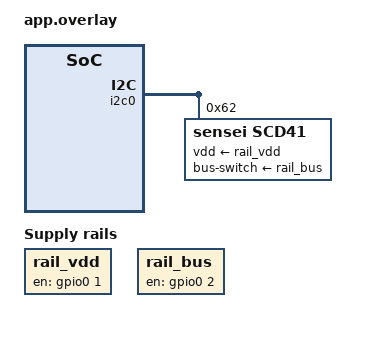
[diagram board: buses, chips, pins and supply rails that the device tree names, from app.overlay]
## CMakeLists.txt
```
# SPDX-FileCopyrightText: 2026 ETH Zurich and University of Bologna
# SPDX-License-Identifier: Apache-2.0
#
# Authors:
# - Philip Wiese <wiesep@iis.ee.ethz.ch>

cmake_minimum_required(VERSION 3.20.0)

find_package(Zephyr REQUIRED HINTS $ENV{ZEPHYR_BASE})
project(sensei_scd41_test)

target_sources(app PRIVATE src/main.c src/emul_scd41.c)
target_include_directories(app PRIVATE src ${CMAKE_CURRENT_LIST_DIR}/../common)
```

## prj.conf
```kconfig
# SPDX-FileCopyrightText: 2026 ETH Zurich and University of Bologna
# SPDX-License-Identifier: Apache-2.0

CONFIG_ZTEST=y
CONFIG_I2C=y
CONFIG_I2C_EMUL=y
CONFIG_EMUL=y
CONFIG_GPIO=y
CONFIG_GPIO_EMUL=y
CONFIG_REGULATOR=y
CONFIG_SENSOR=y
CONFIG_PM_DEVICE=y
CONFIG_PM_DEVICE_RUNTIME=y
CONFIG_SCD41_SENSEI=y
```

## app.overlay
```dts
/*
 * SPDX-FileCopyrightText: 2026 ETH Zurich and University of Bologna
 * SPDX-License-Identifier: Apache-2.0
 *
 * Authors:
 * - Philip Wiese <wiesep@iis.ee.ethz.ch>
 */

/* The SCD41 as on the sensor shield: a supply rail and an I2C isolation switch, both on GPIOs (emulated). The
 * emulator of the sensor answers only while both are on. */

#include <zephyr/dt-bindings/gpio/gpio.h>

/ {
	rail_vdd: rail-vdd {
		compatible = "regulator-fixed";
		regulator-name = "scd41-vdd";
		enable-gpios = <&gpio0 1 GPIO_ACTIVE_HIGH>;
		startup-delay-us = <1000000>; /* power-up time of the SCD4x, datasheet 3.1 */
		off-on-delay-us = <20000>;
	};

	rail_bus: rail-bus {
		compatible = "regulator-fixed";
		regulator-name = "scd41-bus";
		enable-gpios = <&gpio0 2 GPIO_ACTIVE_HIGH>;
		off-on-delay-us = <20000>;
	};
};

&i2c0 {
	scd41: scd41@62 {
		compatible = "sensei,scd41";
		reg = <0x62>;
		vdd-supply = <&rail_vdd>;
		bus-switch-supply = <&rail_bus>;
	};
};
```

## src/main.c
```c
/*
 * SPDX-FileCopyrightText: 2026 ETH Zurich and University of Bologna
 * SPDX-License-Identifier: Apache-2.0
 *
 * Authors:
 * - Philip Wiese <wiesep@iis.ee.ethz.ch>
 */

/* SCD41 driver (NRF/drivers/sensor/scd41) against the I2C emulator in emul_scd41.c: sensor API, split API, power
 * (rails and the sleep command), settings after a cold start, probe and re-probe.
 *
 * The driver keeps some state for good (chip found, settings given), so the tests run in name order and the
 * first ones need a driver that has not found the chip yet. */

#include <zephyr/device.h>
#include <zephyr/drivers/gpio.h>
#include <zephyr/drivers/gpio/gpio_emul.h>
#include <zephyr/drivers/i2c.h>
#include <zephyr/drivers/regulator.h>
#include <zephyr/drivers/sensor.h>
#include <zephyr/kernel.h>
#include <zephyr/pm/device_runtime.h>
#include <zephyr/ztest.h>

#include <sensei/drivers/scd41.h>

#include "emul_scd41.h"

static const struct device *const dev = DEVICE_DT_GET(DT_NODELABEL(scd41));
static const struct device *const gpio = DEVICE_DT_GET(DT_NODELABEL(gpio0));
static struct scd41_emul *em;

static bool rail_on(void) { return gpio_emul_output_get(gpio, 1) == 1 && gpio_emul_output_get(gpio, 2) == 1; }
static bool rail_off(void) { return gpio_emul_output_get(gpio, 1) == 0 && gpio_emul_output_get(gpio, 2) == 0; }

static void *setup(void) {
  em = scd41_emul_get();
  zassert_true(device_is_ready(dev));
  return NULL;
}

static void before(void *f) {
  ARG_UNUSED(f);
  scd41_emul_reset();
}

/* Every test ends with the sensor off. */
static void after(void *f) {
  ARG_UNUSED(f);
  zassert_true(rail_off(), "rails are off at the end of a test");
  zassert_equal(em->early, 0, "no command was sent while the sensor was busy");
}

static int32_t ref_temp_mdeg(uint16_t raw) { return (int32_t)(-45000 + (int64_t)175000 * raw / 65536); }
static int32_t ref_rh_mpct(uint16_t raw) { return (int32_t)((int64_t)100000 * raw / 65536); }

static int32_t milli(const struct sensor_value *v) { return v->val1 * 1000 + v->val2 / 1000; }

/* The emulator itself: it refuses what the datasheet says the sensor refuses. (Own rail control, not the driver.) */
ZTEST(sensei_scd41, test_00_emulator_self_check) {
  const struct device *i2c = DEVICE_DT_GET(DT_NODELABEL(i2c0));
  const struct device *vdd = DEVICE_DT_GET(DT_NODELABEL(rail_vdd));
  const struct device *bus = DEVICE_DT_GET(DT_NODELABEL(rail_bus));
  const uint8_t stop[2] = {0x3F, 0x86}, serial[2] = {0x36, 0x82};
  uint8_t pdown[2] = {0x36, 0xE0}, buf[9];
  uint8_t bad_crc[5] = {0x24, 0x16, 0x00, 0x01, 0x00}; /* ASC enable with a wrong CRC (correct: 0xB0) */

  zassert_not_equal(i2c_write(i2c, stop, 2, 0x62), 0, "rails off: no answer");
  zassert_equal(regulator_enable(vdd), 0);
  zassert_equal(regulator_enable(bus), 0);
  zassert_not_equal(i2c_write(i2c, stop, 2, 0x62), 0, "the 1000 ms power-up are not waited");
  zassert_equal(em->early, 1);
  em->early = 0;
  k_msleep(1000);
  zassert_equal(i2c_write(i2c, bad_crc, sizeof(bad_crc), 0x62), -EIO, "wrong CRC");
  zassert_equal(i2c_write(i2c, stop, 2, 0x62), 0);
  zassert_not_equal(i2c_write(i2c, serial, 2, 0x62), 0, "500 ms of stop_periodic_measurement not waited");
  zassert_equal(em->early, 1);
  em->early = 0;
  k_msleep(501);
  zassert_equal(i2c_write(i2c, serial, 2, 0x62), 0);
  zassert_not_equal(i2c_read(i2c, buf, 9, 0x62), 0, "1 ms of get_serial_number not waited");
  k_msleep(2);
  zassert_equal(i2c_read(i2c, buf, 9, 0x62), 0);
  zassert_equal(buf[2], sensirion_emul_crc8(buf, 2));
  zassert_not_equal(i2c_read(i2c, buf, 9, 0x62), 0, "nothing more to read");
  zassert_equal(i2c_write(i2c, pdown, 2, 0x62), 0);
  k_msleep(2);
  zassert_not_equal(i2c_write(i2c, serial, 2, 0x62), 0, "asleep");
  em->early = 0;
  zassert_equal(regulator_disable(bus), 0);
  zassert_equal(regulator_disable(vdd), 0);
}

/* The driver does not touch the bus before it is used (the board rails may not be up at boot). */
ZTEST(sensei_scd41, test_01_no_bus_traffic_at_boot) {
  zassert_equal(em->transfers, 0);
  zassert_true(rail_off());
}

/* No chip: probe fails, the rails go off again, and the next try asks the chip again. */
ZTEST(sensei_scd41, test_02_probe_without_chip) {
  em->present = false;
  zassert_equal(sensei_scd41_probe(dev), -ENODEV);
  zassert_true(rail_off());
  zassert_true(em->transfers > 0);

  int before_n = em->transfers;

  zassert_equal(pm_device_runtime_get(dev), -ENODEV);
  zassert_true(rail_off());
  zassert_true(em->transfers > before_n, "asked again");
  zassert_equal(sensei_scd41_probe(dev), -ENODEV);
}

/* An SCD40 is not accepted (the driver needs the single shot of the SCD41). */
ZTEST(sensei_scd41, test_03_probe_wrong_variant) {
  em->variant = 0x0000;
  zassert_equal(sensei_scd41_probe(dev), -ENODEV);
  zassert_true(rail_off());
}

/* The chip shows up later: found without a reboot. Power on, stop periodic mode, serial number, variant. */
ZTEST(sensei_scd41, test_04_reprobe_finds_chip) {
  zassert_equal(sensei_scd41_probe(dev), 0);
  zassert_true(rail_off());
  zassert_equal(em->log_len, 3);
  zassert_equal(em->log[0], SCD41_CMD_STOP_PERIODIC);
  zassert_equal(em->log[1], SCD41_CMD_GET_SERIAL);
  zassert_equal(em->log[2], SCD41_CMD_GET_VARIANT);
}

/* Once the chip answered, a power-up does not ask again. */
ZTEST(sensei_scd41, test_05_probe_result_is_kept) {
  zassert_equal(pm_device_runtime_get(dev), 0);
  zassert_true(rail_on());
  zassert_equal(em->log_len, 0);
  zassert_equal(sensei_scd41_probe(dev), 0);
  zassert_equal(pm_device_runtime_put(dev), 0);
}

/* Without a reference (rails off) the split API refuses. */
ZTEST(sensei_scd41, test_06_split_api_needs_power) {
  zassert_equal(sensei_scd41_start(dev), -ENOTCONN);
  zassert_equal(sensei_scd41_fetch(dev), -ENOTCONN);
  zassert_equal(sensei_scd41_forced_recalibration(dev, 420, NULL), -ENOTCONN);
  zassert_equal(sensei_scd41_sleep(dev), 0); /* nothing to put to sleep */
  zassert_equal(em->transfers, 0);
}

/* sensor_sample_fetch: power up, single shot (5 s), read, power down. Conversions as in the datasheet. */
ZTEST(sensei_scd41, test_07_sample_fetch_and_convert) {
  struct sensor_value v;
  int64_t t0;
  int64_t dt;

  em->co2_ppm = 1234;
  em->temp_raw = 0x6667; /* the datasheet example: 25 degC */
  em->rh_raw = 0x8000;   /* 50 %RH */
  t0 = k_uptime_get();
  zassert_equal(sensor_sample_fetch(dev), 0);
  dt = k_uptime_get() - t0;
  zassert_true(dt >= 6000 && dt < 6700, "1 s power-up and 5 s single shot took %d ms", (int)dt);
  zassert_true(rail_off());
  zassert_equal(scd41_emul_count(SCD41_CMD_SINGLE_SHOT), 1);
  zassert_equal(scd41_emul_count(SCD41_CMD_READ_MEASUREMENT), 1);

  zassert_equal(sensor_channel_get(dev, SENSOR_CHAN_CO2, &v), 0);
  zassert_equal(v.val1, 1234);
  zassert_equal(sensor_channel_get(dev, SENSOR_CHAN_AMBIENT_TEMP, &v), 0);
  zassert_within(milli(&v), ref_temp_mdeg(0x6667), 1);
  zassert_within(milli(&v), 25000, 5);
  zassert_equal(sensor_channel_get(dev, SENSOR_CHAN_HUMIDITY, &v), 0);
  zassert_within(milli(&v), ref_rh_mpct(0x8000), 1);
  zassert_equal(milli(&v), 50000);

  /* extremes of the range */
  em->temp_raw = 0;
  em->rh_raw = 0xFFFF;
  zassert_equal(sensor_sample_fetch_chan(dev, SENSOR_CHAN_CO2), 0);
  sensor_channel_get(dev, SENSOR_CHAN_AMBIENT_TEMP, &v);
  zassert_equal(milli(&v), -45000);
  sensor_channel_get(dev, SENSOR_CHAN_HUMIDITY, &v);
  zassert_within(milli(&v), 100000, 2);
}

ZTEST(sensei_scd41, test_08_unsupported_channels) {
  struct sensor_value v;

  zassert_equal(sensor_sample_fetch_chan(dev, SENSOR_CHAN_PRESS), -ENOTSUP);
  zassert_equal(em->transfers, 0, "no power and no traffic for a channel the driver does not have");
  zassert_equal(sensor_channel_get(dev, SENSOR_CHAN_PRESS, &v), -ENOTSUP);
}

/* Split API: start returns the 5 s, the result is not there before, then it is. The datasheet does not let the
 * master talk to the sensor during the shot; with a sensor that answers "not ready" (ack_during_shot) the driver
 * reports -EBUSY. */
ZTEST(sensei_scd41, test_09_split_api_timing) {
  struct sensor_value v;

  em->ack_during_shot = true;
  em->co2_ppm = 555;
  zassert_equal(pm_device_runtime_get(dev), 0);
  zassert_true(rail_on());
  zassert_equal(sensei_scd41_start(dev), 5000);
  zassert_equal(sensei_scd41_fetch(dev), -EBUSY);
  k_msleep(2000);
  zassert_equal(sensei_scd41_fetch(dev), -EBUSY);
  k_msleep(3100);
  zassert_equal(sensei_scd41_fetch(dev), 0);
  zassert_equal(sensor_channel_get(dev, SENSOR_CHAN_CO2, &v), 0);
  zassert_equal(v.val1, 555);
  /* one read per measurement: the ready flag is gone */
  zassert_equal(sensei_scd41_fetch(dev), -EBUSY);
  zassert_equal(pm_device_runtime_put(dev), 0);
}

/* A sensor that behaves as the datasheet says (no answer during the shot): fetching early is a bus error. */
ZTEST(sensei_scd41, test_09b_early_fetch_is_refused) {
  zassert_equal(pm_device_runtime_get(dev), 0);
  zassert_equal(sensei_scd41_start(dev), 5000);
  zassert_equal(sensei_scd41_fetch(dev), -EIO);
  zassert_equal(em->early, 1);
  em->early = 0;
  k_msleep(5100);
  zassert_equal(sensei_scd41_fetch(dev), 0);
  zassert_equal(pm_device_runtime_put(dev), 0);
}

/* Between shots the sensor can sleep. Then it answers nothing but wake_up (which it does not acknowledge), and the
 * driver wakes it at the next start. Settings given while it sleeps are written after the wake-up. */
ZTEST(sensei_scd41, test_10_sleep_and_wake) {
  zassert_equal(pm_device_runtime_get(dev), 0);
  zassert_equal(sensei_scd41_sleep(dev), 0);
  zassert_true(em->asleep);
  zassert_equal(sensei_scd41_fetch(dev), -EIO, "a sleeping sensor does not answer");

  int n = em->log_len;

  zassert_equal(sensei_scd41_set_asc(dev, true, 8, 24), 0);
  zassert_equal(em->log_len, n, "nothing is sent to a sleeping sensor");

  zassert_equal(sensei_scd41_start(dev), 5000);
  zassert_false(em->asleep);
  zassert_equal(scd41_emul_count(SCD41_CMD_WAKE_UP), 1);
  zassert_true(em->asc_enabled);
  zassert_equal(em->asc_initial_h, 8);
  zassert_equal(em->asc_standard_h, 24);
  /* order: wake up, settings, single shot */
  zassert_equal(em->log[n], SCD41_CMD_WAKE_UP);
  zassert_equal(em->log[n + 1], SCD41_CMD_SET_ASC_ENABLED);
  zassert_equal(em->log[em->log_len - 1], SCD41_CMD_SINGLE_SHOT);
  zassert_equal(pm_device_runtime_put(dev), 0);
}

/* A sensor that sleeps and then loses its rail comes back awake (the emulator models the power loss itself): a node
 * that switches the sensor from "on" to "gated" must be able to start it again. */
ZTEST(sensei_scd41, test_10b_rail_off_ends_the_sleep) {
  zassert_equal(pm_device_runtime_get(dev), 0);
  zassert_equal(sensei_scd41_sleep(dev), 0);
  zassert_true(em->asleep);
  zassert_equal(pm_device_runtime_put(dev), 0); /* rails off */
  k_msleep(50);                                 /* the emulator notes the supply every 10 ms */
  zassert_false(em->asleep);
  zassert_equal(pm_device_runtime_get(dev), 0);
  zassert_equal(sensei_scd41_start(dev), 5000);
  k_msleep(5100);
  zassert_equal(sensei_scd41_fetch(dev), 0);
  zassert_equal(pm_device_runtime_put(dev), 0);
}

/* The sensor loses its settings with the power: the driver writes them again after every cold start. */
ZTEST(sensei_scd41, test_11_asc_after_cold_start) {
  zassert_equal(sensei_scd41_set_asc(dev, true, 48, 156), 0); /* rails off: stored only */
  zassert_equal(em->transfers, 0);

  zassert_equal(pm_device_runtime_get(dev), 0);
  zassert_true(em->asc_enabled);
  zassert_equal(em->asc_initial_h, 48);
  zassert_equal(em->asc_standard_h, 156);
  zassert_equal(pm_device_runtime_put(dev), 0);

  /* power loss: the sensor is back to its defaults (44 h and 156 h), a cold start writes the settings again */
  scd41_emul_power_loss();
  zassert_equal(em->asc_initial_h, 44);
  zassert_equal(pm_device_runtime_get(dev), 0);
  zassert_equal(em->asc_initial_h, 48);
  zassert_equal(pm_device_runtime_put(dev), 0);

  /* off: only the enable flag is written */
  zassert_equal(sensei_scd41_set_asc(dev, false, 48, 156), 0);
  scd41_emul_power_loss();
  em->log_len = 0;
  zassert_equal(pm_device_runtime_get(dev), 0);
  zassert_false(em->asc_enabled);
  zassert_equal(scd41_emul_count(SCD41_CMD_SET_ASC_ENABLED), 1);
  zassert_equal(scd41_emul_count(SCD41_CMD_SET_ASC_INITIAL), 0);
  zassert_equal(pm_device_runtime_put(dev), 0);
}

/* A change while the sensor is on is written at once, an invalid period is refused by the sensor (multiple of 4 h). */
ZTEST(sensei_scd41, test_12_asc_change_while_on) {
  zassert_equal(pm_device_runtime_get(dev), 0);
  zassert_equal(sensei_scd41_set_asc(dev, true, 96, 312), 0);
  zassert_true(em->asc_enabled);
  zassert_equal(em->asc_initial_h, 96);
  zassert_equal(em->asc_standard_h, 312);

  int n = em->log_len;

  zassert_equal(sensei_scd41_set_asc(dev, true, 96, 312), 0, "same values");
  zassert_equal(em->log_len, n, "unchanged: nothing is sent");
  zassert_equal(sensei_scd41_set_asc(dev, true, 97, 312), -EIO);
  zassert_equal(sensei_scd41_set_asc(dev, true, 96, 312), 0); /* back to a valid value */
  zassert_equal(pm_device_runtime_put(dev), 0);
}

/* Ambient pressure goes to the sensor before a shot (hPa), values out of 700 ... 1200 hPa are not sent. */
ZTEST(sensei_scd41, test_13_ambient_pressure) {
  zassert_equal(pm_device_runtime_get(dev), 0);
  sensei_scd41_set_pressure(dev, 98700);
  zassert_equal(sensei_scd41_start(dev), 5000);
  zassert_equal(em->pressure_hpa, 987);
  zassert_equal(scd41_emul_count(SCD41_CMD_SET_AMBIENT_PRESSURE), 1);

  k_msleep(5100); /* the first shot is over */
  em->log_len = 0;
  sensei_scd41_set_pressure(dev, 50000);
  zassert_equal(sensei_scd41_start(dev), 5000);
  zassert_equal(scd41_emul_count(SCD41_CMD_SET_AMBIENT_PRESSURE), 0);
  zassert_equal(em->pressure_hpa, 987);
  zassert_equal(pm_device_runtime_put(dev), 0);
}

ZTEST(sensei_scd41, test_14_forced_recalibration) {
  int16_t corr = 0;

  zassert_equal(pm_device_runtime_get(dev), 0);
  em->frc_result = 0x8000 - 25;
  zassert_equal(sensei_scd41_forced_recalibration(dev, 420, &corr), 0);
  zassert_equal(corr, -25);
  em->frc_result = 0x8000 + 40;
  zassert_equal(sensei_scd41_forced_recalibration(dev, 420, NULL), 0);
  em->frc_result = 0xFFFF; /* the datasheet: failed */
  zassert_equal(sensei_scd41_forced_recalibration(dev, 420, &corr), -EIO);
  /* the 400 ms of the command are waited (em->early stays 0, checked after the test) */
  zassert_equal(sensei_scd41_set_asc(dev, true, 4, 4), 0);
  zassert_equal(pm_device_runtime_put(dev), 0);
}

ZTEST(sensei_scd41, test_15_bus_error_during_fetch) {
  zassert_equal(pm_device_runtime_get(dev), 0);
  zassert_equal(sensei_scd41_start(dev), 5000);
  k_msleep(5100);
  em->fail_after = em->transfers; /* the bus fails from now on */
  zassert_equal(sensei_scd41_fetch(dev), -EIO);
  zassert_equal(sensei_scd41_start(dev), -EIO);
  em->fail_after = -1;
  zassert_equal(sensei_scd41_fetch(dev), 0);
  zassert_equal(pm_device_runtime_put(dev), 0);
}

/* A shot that never finishes ends with a timeout, the rails still go off. */
ZTEST(sensei_scd41, test_16_timeout) {
  em->never_ready = true;
  zassert_equal(sensor_sample_fetch(dev), -ETIMEDOUT);
  zassert_true(rail_off());
}

ZTEST_SUITE(sensei_scd41, NULL, setup, before, after, NULL);
```

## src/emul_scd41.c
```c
/*
 * SPDX-FileCopyrightText: 2026 ETH Zurich and University of Bologna
 * SPDX-License-Identifier: Apache-2.0
 *
 * Authors:
 * - Philip Wiese <wiesep@iis.ee.ethz.ch>
 */

/* I2C emulator of the Sensirion SCD41 (address 0x62), for the driver "sensei,scd41".
 *
 * Follows the Sensirion SCD4x datasheet, version 1.3 (September 2022): 3.1 power-up (1000 ms to idle), 3.3 command
 * sequences (commands must not be sent while one is executed), 3.4 command table 9 (codes and execution times),
 * 3.5 basic commands, 3.6 output signal compensation, 3.7 field calibration (ASC, forced recalibration), 3.8 data
 * ready status, 3.9 advanced features, 3.10 low power single shot (SCD41), 3.11 CRC-8. Modelled:
 *  - no answer until 1000 ms after the supply came up (3.1);
 *  - commands with CRC-protected words and the execution times of table 9: the sensor does not acknowledge while it
 *    executes a command (stop_periodic_measurement 500 ms, forced recalibration 400 ms, wake_up 20 ms, others
 *    1 ms), so a missing wait of the library shows up as an early access;
 *  - single shot (SCD41 only, 3.10.1): the command takes 5000 ms and nothing is acknowledged meanwhile. With
 *    ack_during_shot the emulator answers data ready = 0 instead (what the driver's -EBUSY path is made for);
 *  - data ready status: 11 least significant bits zero = no data; read_measurement clears it, a read without
 *    data is not acknowledged;
 *  - power_down: only wake_up is accepted, and it is not acknowledged (datasheet: "the sensor does not
 *    acknowledge the wake up command");
 *  - ASC settings and ambient pressure in RAM: back to the defaults after a power loss (ASC on, 44 h, 156 h);
 *  - the sensor does not answer while one of the two supply rails (gpio-controlled regulators of the node) is off.
 * Not modelled: periodic measurement, temperature offset, altitude, persist settings, self test, factory reset. */

#define DT_DRV_COMPAT sensei_scd41

#include <errno.h>
#include <string.h>
#include <zephyr/device.h>
#include <zephyr/drivers/emul.h>
#include <zephyr/drivers/gpio.h>
#include <zephyr/drivers/gpio/gpio_emul.h>
#include <zephyr/drivers/i2c.h>
#include <zephyr/drivers/i2c_emul.h>

#include "emul_scd41.h"

BUILD_ASSERT(DT_NUM_INST_STATUS_OKAY(DT_DRV_COMPAT) == 1, "one SCD41 node");

static struct scd41_emul st;
static int64_t busy_until_us; /* the sensor executes a command until then */
static uint8_t resp[9];
static size_t resp_len;
static bool data_ready;
static int64_t data_ready_at_us;
#define RAIL_TICK_US (10 * 1000)      /* the timer sees the edge up to one tick late */
static int64_t rail_on_since_us = -1; /* set by the timer below */
static struct k_timer rail_timer;

static const struct gpio_dt_spec rail_vdd = GPIO_DT_SPEC_GET(DT_INST_PHANDLE(0, vdd_supply), enable_gpios);
static const struct gpio_dt_spec rail_bus = GPIO_DT_SPEC_GET(DT_INST_PHANDLE(0, bus_switch_supply), enable_gpios);

struct scd41_emul *scd41_emul_get(void) { return &st; }

uint16_t scd41_emul_temp_raw(int32_t mdeg) { return (uint16_t)(((int64_t)mdeg + 45000) * 65536 / 175000); }
uint16_t scd41_emul_rh_raw(int32_t mpct) { return (uint16_t)((int64_t)mpct * 65536 / 100000); }

static void settings_default(void) {
  st.asc_enabled = true;
  st.asc_initial_h = 44;
  st.asc_standard_h = 156;
  st.pressure_hpa = 1013;
}

/* Notes the moment the supply is on (10 ms resolution, the tick of native_sim): the 1000 ms power-up time run from
 * there. Supply off is a power loss: the sensor wakes up in idle with the default settings. */
static void rail_poll(struct k_timer *t) {
  ARG_UNUSED(t);
  bool on = gpio_emul_output_get_dt(&rail_vdd) == 1;

  if (!on) {
    if (rail_on_since_us >= 0) {
      scd41_emul_power_loss();
    }
    rail_on_since_us = -1;
  } else if (rail_on_since_us < 0) {
    rail_on_since_us = sensirion_emul_now_us();
  }
}

void scd41_emul_power_loss(void) {
  settings_default();
  st.asleep = false;
  busy_until_us = 0;
  rail_on_since_us = -1;
  resp_len = 0;
  data_ready = false;
}

void scd41_emul_reset(void) {
  memset(&st, 0, sizeof(st));
  st.present = true;
  st.variant = 0x1234; /* SCD41: upper nibble 0x1 */
  st.co2_ppm = 800;
  st.temp_raw = scd41_emul_temp_raw(25000);
  st.rh_raw = scd41_emul_rh_raw(50000);
  st.frc_result = 0x8000;
  st.fail_after = -1;
  scd41_emul_power_loss();
}

int scd41_emul_count(uint16_t cmd) {
  int n = 0;

  for (int i = 0; i < st.log_len; i++) {
    n += st.log[i] == cmd;
  }
  return n;
}

/* Command execution time in us, or -1 for an unknown command (datasheet command tables). */
static int32_t exec_us(uint16_t cmd) {
  switch (cmd) {
  case SCD41_CMD_STOP_PERIODIC:
    return 500 * 1000;
  case SCD41_CMD_FORCED_RECAL:
    return 400 * 1000;
  case SCD41_CMD_SINGLE_SHOT:
    return st.ack_during_shot ? 0 : 5000 * 1000;
  case SCD41_CMD_WAKE_UP:
    return 20 * 1000;
  case SCD41_CMD_READ_MEASUREMENT:
  case SCD41_CMD_SET_AMBIENT_PRESSURE:
  case SCD41_CMD_SET_ASC_ENABLED:
  case SCD41_CMD_SET_ASC_INITIAL:
  case SCD41_CMD_SET_ASC_STANDARD:
  case SCD41_CMD_DATA_READY:
  case SCD41_CMD_GET_SERIAL:
  case SCD41_CMD_GET_VARIANT:
  case SCD41_CMD_POWER_DOWN:
    return 1000;
  default:
    return -1;
  }
}

static bool rails_on(void) {
  return gpio_emul_output_get_dt(&rail_vdd) == 1 && gpio_emul_output_get_dt(&rail_bus) == 1;
}

static int nack(void) {
  st.nacks++;
  return -EIO;
}

static void log_cmd(uint16_t cmd) {
  if (st.log_len < SENSIRION_EMUL_LOG_LEN) {
    st.log[st.log_len++] = cmd;
  }
}

static int do_write(const uint8_t *buf, size_t len) {
  uint16_t cmd, arg[1] = {0};
  int64_t now = sensirion_emul_now_us();
  int n = sensirion_emul_parse(buf, len, &cmd, arg, 1);
  int32_t t;

  if (n < 0) {
    return nack();
  }
  if (now < busy_until_us) {
    st.early++;
    return nack();
  }
  if (st.asleep) {
    if (cmd == SCD41_CMD_WAKE_UP && n == 0) {
      st.asleep = false;
      busy_until_us = now + 20 * 1000;
      log_cmd(cmd);
    }
    return nack(); /* wake_up is not acknowledged either */
  }
  t = exec_us(cmd);
  if (t < 0) {
    return nack();
  }
  resp_len = 0;
  switch (cmd) {
  case SCD41_CMD_STOP_PERIODIC:
  case SCD41_CMD_POWER_DOWN:
  case SCD41_CMD_SINGLE_SHOT:
    if (n != 0) {
      return nack();
    }
    break;
  case SCD41_CMD_GET_SERIAL: {
    const uint16_t sn[3] = {0x1111, 0x2222, 0x3333};

    resp_len = sensirion_emul_put_words(resp, sn, 3);
    break;
  }
  case SCD41_CMD_GET_VARIANT:
    resp_len = sensirion_emul_put_words(resp, &st.variant, 1);
    break;
  case SCD41_CMD_DATA_READY: {
    uint16_t v = (data_ready && now >= data_ready_at_us) ? 0x8006 : 0x8000;

    resp_len = sensirion_emul_put_words(resp, &v, 1);
    break;
  }
  case SCD41_CMD_READ_MEASUREMENT:
    if (!data_ready || now < data_ready_at_us) {
      return nack(); /* nothing to read */
    }
    {
      const uint16_t w[3] = {st.co2_ppm, st.temp_raw, st.rh_raw};

      resp_len = sensirion_emul_put_words(resp, w, 3);
    }
    data_ready = false; /* one read per measurement */
    break;
  case SCD41_CMD_SET_ASC_ENABLED:
    if (n != 1) {
      return nack();
    }
    st.asc_enabled = arg[0] != 0;
    break;
  case SCD41_CMD_SET_ASC_INITIAL:
    if (n != 1 || arg[0] % 4 != 0) { /* the datasheet wants a multiple of 4 h */
      return nack();
    }
    st.asc_initial_h = arg[0];
    break;
  case SCD41_CMD_SET_ASC_STANDARD:
    if (n != 1 || arg[0] % 4 != 0) {
      return nack();
    }
    st.asc_standard_h = arg[0];
    break;
  case SCD41_CMD_SET_AMBIENT_PRESSURE:
    if (n != 1 || arg[0] < 700 || arg[0] > 1200) { /* 700 ... 1200 hPa */
      return nack();
    }
    st.pressure_hpa = arg[0];
    break;
  case SCD41_CMD_FORCED_RECAL:
    if (n != 1) {
      return nack();
    }
    resp_len = sensirion_emul_put_words(resp, &st.frc_result, 1);
    break;
  case SCD41_CMD_WAKE_UP: /* awake already: not acknowledged, no state change */
    return nack();
  default:
    return nack();
  }
  if (cmd == SCD41_CMD_POWER_DOWN) {
    st.asleep = true;
  }
  if (cmd == SCD41_CMD_SINGLE_SHOT) {
    st.shot_started_us = now;
    data_ready = !st.never_ready;
    data_ready_at_us = now + 5000 * 1000;
  }
  busy_until_us = now + t;
  log_cmd(cmd);
  return 0;
}

static int do_read(uint8_t *buf, size_t len) {
  int64_t now = sensirion_emul_now_us();

  if (now < busy_until_us) {
    st.early++;
    return nack();
  }
  if (st.asleep || resp_len == 0 || len != resp_len) {
    return nack();
  }
  memcpy(buf, resp, len);
  resp_len = 0;
  return 0;
}

static int scd41_emul_transfer(const struct emul *target, struct i2c_msg *msgs, int num_msgs, int addr) {
  ARG_UNUSED(target);
  int64_t now = sensirion_emul_now_us();

  st.transfers++;
  if (st.present && addr == DT_INST_REG_ADDR(0) && rails_on() && rail_on_since_us >= 0 &&
      now + RAIL_TICK_US < rail_on_since_us + SCD41_POWER_UP_US) {
    st.early++; /* still powering up */
    return nack();
  }
  if (!st.present || addr != DT_INST_REG_ADDR(0) || !rails_on()) {
    return nack();
  }
  if (st.fail_after >= 0 && st.transfers > st.fail_after) {
    return nack();
  }
  for (int i = 0; i < num_msgs; i++) {
    int ret = (msgs[i].flags & I2C_MSG_READ) ? do_read(msgs[i].buf, msgs[i].len) : do_write(msgs[i].buf, msgs[i].len);

    if (ret != 0) {
      return ret;
    }
  }
  return 0;
}

static const struct i2c_emul_api scd41_emul_api = {
    .transfer = scd41_emul_transfer,
};

static int scd41_emul_init(const struct emul *target, const struct device *parent) {
  ARG_UNUSED(target);
  ARG_UNUSED(parent);
  scd41_emul_reset();
  k_timer_init(&rail_timer, rail_poll, NULL);
  k_timer_start(&rail_timer, K_MSEC(10), K_MSEC(10));
  return 0;
}

#define SCD41_EMUL(n) EMUL_DT_INST_DEFINE(n, scd41_emul_init, NULL, NULL, &scd41_emul_api, NULL)

DT_INST_FOREACH_STATUS_OKAY(SCD41_EMUL)
```

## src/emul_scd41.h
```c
/*
 * SPDX-FileCopyrightText: 2026 ETH Zurich and University of Bologna
 * SPDX-License-Identifier: Apache-2.0
 *
 * Authors:
 * - Philip Wiese <wiesep@iis.ee.ethz.ch>
 */

#ifndef SENSEI_TEST_EMUL_SCD41_H_
#define SENSEI_TEST_EMUL_SCD41_H_

#include <stdbool.h>
#include <stdint.h>

#include "sensirion_emul.h"

struct scd41_emul {
  /* Test controls */
  bool present;      /* false: the chip does not answer (no ACK) */
  uint16_t variant;  /* answer of get_sensor_variant, SCD41: 0x1xxx */
  uint16_t co2_ppm;  /* result of the next measurement */
  uint16_t temp_raw; /* raw words, as the sensor sends them */
  uint16_t rh_raw;
  uint16_t frc_result;  /* answer of perform_forced_recalibration */
  bool never_ready;     /* a measurement never finishes */
  bool ack_during_shot; /* answer commands during the 5 s of a single shot (datasheet: not allowed) */
  int fail_after;       /* NACK every transfer after this many (-1: never) */

  /* Observations */
  int transfers; /* all calls of the I2C transfer function */
  int nacks;     /* transfers refused: powered off, busy, asleep, bad CRC, unknown */
  int early;     /* of these: sent while the sensor executes a command or powers up (a missing wait) */
  uint16_t log[SENSIRION_EMUL_LOG_LEN]; /* commands accepted, in order */
  int log_len;
  bool asleep;      /* power_down received, no wake_up yet */
  bool asc_enabled; /* settings in the sensor RAM; the defaults come back after every power cycle */
  uint16_t asc_initial_h;
  uint16_t asc_standard_h;
  uint16_t pressure_hpa;
  int64_t shot_started_us; /* of the last single shot */
};

/* The one emulated SCD41. */
struct scd41_emul *scd41_emul_get(void);

/* Default state, present, 800 ppm, 25 degC, 50 %RH. Clears the log and the counters. */
void scd41_emul_reset(void);

/* Raw words of a temperature and humidity (datasheet: T = -45 + 175 * word / 2^16, RH = 100 * word / 2^16). */
uint16_t scd41_emul_temp_raw(int32_t mdeg);
uint16_t scd41_emul_rh_raw(int32_t mpct);

/* Power-up time after the supply: 1000 ms (datasheet 3.1). */
#define SCD41_POWER_UP_US (1000 * 1000)

/* Power loss: the sensor forgets its settings and wakes up idle (the test calls it after the rails went off). */
void scd41_emul_power_loss(void);

/* Count of an accepted command in the log. */
int scd41_emul_count(uint16_t cmd);

/* Command words used by the driver (Sensirion SCD4x datasheet, command tables). */
#define SCD41_CMD_STOP_PERIODIC 0x3F86
#define SCD41_CMD_READ_MEASUREMENT 0xEC05
#define SCD41_CMD_SET_AMBIENT_PRESSURE 0xE000
#define SCD41_CMD_FORCED_RECAL 0x362F
#define SCD41_CMD_SET_ASC_ENABLED 0x2416
#define SCD41_CMD_SET_ASC_INITIAL 0x2445
#define SCD41_CMD_SET_ASC_STANDARD 0x244E
#define SCD41_CMD_DATA_READY 0xE4B8
#define SCD41_CMD_GET_SERIAL 0x3682
#define SCD41_CMD_GET_VARIANT 0x202F
#define SCD41_CMD_SINGLE_SHOT 0x219D
#define SCD41_CMD_POWER_DOWN 0x36E0
#define SCD41_CMD_WAKE_UP 0x36F6

#endif /* SENSEI_TEST_EMUL_SCD41_H_ */
```
